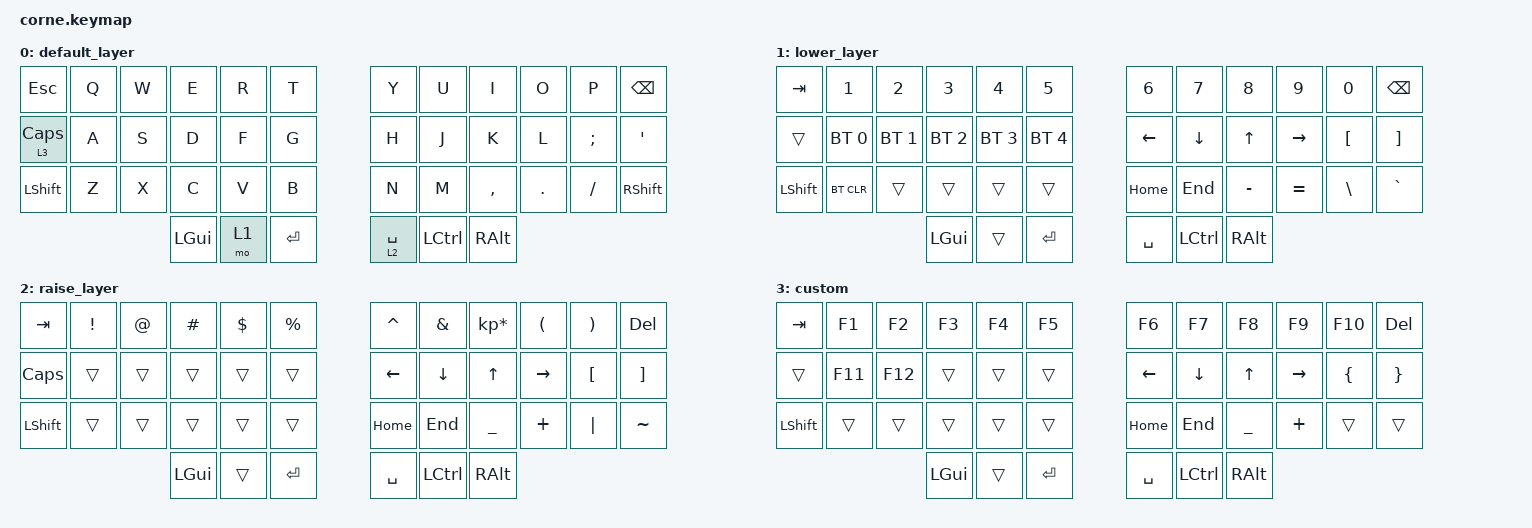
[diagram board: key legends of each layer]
/*
 * Copyright (c) 2020 The ZMK Contributors
 *
 * SPDX-License-Identifier: MIT
 */

#include <behaviors.dtsi>
#include <dt-bindings/zmk/keys.h>
#include <dt-bindings/zmk/bt.h>

#define DEFAULT 0
#define LOWER   1
#define RAISE   2
#define CUSTOM  3

/ {
        keymap {
                compatible = "zmk,keymap";

                default_layer {
// -----------------------------------------------------------------------------------------
// |  ESC |  Q  |  W  |  E  |  R  |  T  |   |  Y  |  U   |  I  |  O  |  P  | BKSP |
// | CAPS |  A  |  S  |  D  |  F  |  G  |   |  H  |  J   |  K  |  L  |  ;  |  '   |
// | SHFT |  Z  |  X  |  C  |  V  |  B  |   |  N  |  M   |  ,  |  .  |  /  | SHFT  |
//                    | GUI | LWR | ENT |   | SPC | CTRL | ALT |
//                                            &RSE
                        bindings = <
   &kp ESC  &kp Q &kp W &kp E &kp R &kp T   &kp Y &kp U  &kp I     &kp O   &kp P    &kp BSPC
   &lt 3 CAPS &kp A &kp S &kp D &kp F &kp G   &kp H &kp J  &kp K     &kp L   &kp SEMI &kp SQT
   &kp LSHFT &kp Z &kp X &kp C &kp V &kp B   &kp N &kp M  &kp COMMA &kp DOT &kp FSLH &kp RSHFT
                  &kp LGUI &mo 1 &kp RET   &lt 2 SPACE &kp LCTRL &kp RALT
                        >;
                };
               
                lower_layer {
// -----------------------------------------------------------------------------------------
// |  TAB |  1  |  2  |  3  |  4  |  5  |   |  6  |  7  |  8  |  9  |  0  | BKSP |
// |      | BT1 | BT2 | BT3 | BT4 | BT5 |   | LFT | DWN |  UP | RGT |  [  |  ]   |
// | SHFT |BTCLR|     |     |     |     |   | HOME| END |  -  |  =  |  \  |  `   |
//                    | GUI |     | ENT |   | SPC |CTRL | ALT |
                        bindings = <
   &kp TAB    &kp N1       &kp N2       &kp N3       &kp N4       &kp N5         &kp N6    &kp N7   &kp N8 &kp N9    &kp N0 &kp BSPC
   &trans    &bt BT_SEL 0 &bt BT_SEL 1 &bt BT_SEL 2 &bt BT_SEL 3 &bt BT_SEL 4   &kp LEFT  &kp DOWN &kp UP &kp RIGHT &kp LBKT &kp RBKT
   &kp LSHFT &bt BT_CLR   &trans &trans   &trans   &trans                        &kp HOME  &kp END  &kp MINUS       &kp EQUAL &kp BSLH &kp GRAVE
                                    &kp LGUI     &trans       &kp RET            &kp SPACE &kp LCTRL   &kp RALT
                        >;
                };

                raise_layer {
// -----------------------------------------------------------------------------------------
// |  TAB |  !  |  @  |  #  |  $  |  %  |   |  ^  |  &  |  *  |  (  |  )  | DEL  |
// | CAPS |     |     |     |     |     |   | LFT | DWN |  UP | RGT |  [  |  ]   |
// | SHFT |     |     |     |     |     |   | HOME| END |  _  |  +  |  |  |  ~   |
//                    | GUI |     | ENT |   | SPC |CTRL | ALT |
                        bindings = <
   &kp  TAB  &kp EXCL &kp AT &kp HASH &kp DLLR &kp PRCNT   &kp CARET &kp AMPS  &kp KP_MULTIPLY &kp LPAR &kp RPAR &kp DEL
   &kp CAPS &trans   &trans &trans   &trans   &trans       &kp LEFT  &kp DOWN  &kp UP          &kp RIGHT &kp LBKT &kp RBKT
   &kp LSHFT &trans   &trans &trans   &trans   &trans      &kp HOME &kp END  &kp UNDER &kp PLUS &kp PIPE &kp TILDE
                             &kp LGUI &trans   &kp RET   &kp SPACE   &kp LCTRL    &kp RALT
                        >;
                };       
         
                custom {
// -----------------------------------------------------------------------------------------
// |  TAB |  F1 |  F2 | F3  | F4  | F5  |   | F6  | F7  | F8  | F9  | F10 |  DEL |
// | CAPS | F11 | F12 |     |     |     |   | LFT | DWN |  UP | RGT |  {  |   }  |
// | SHFT |     |     |     |     |     |   |HOME | END |  _  |  +  |     |      |
//                    | GUI |     | ENT |   | SPC |     | ALT |
                        bindings = <
   &kp TAB    &kp F1       &kp F2       &kp F3       &kp F4       &kp F5         &kp F6   &kp F7   &kp F8 &kp F9    &kp F10 &kp DEL
   &trans    &kp F11      &kp F12       &trans       &trans       &trans         &kp LEFT &kp DOWN &kp UP &kp RIGHT &kp LBRC &kp RBRC
   &kp LSHFT  &trans       &trans       &trans       &trans       &trans         &kp HOME &kp END  &kp UNDER &kp PLUS    &trans &trans
                                    &kp LGUI     &trans       &kp RET      &kp SPACE  &kp LCTRL   &kp RALT
                        >;
                };
        };
};
